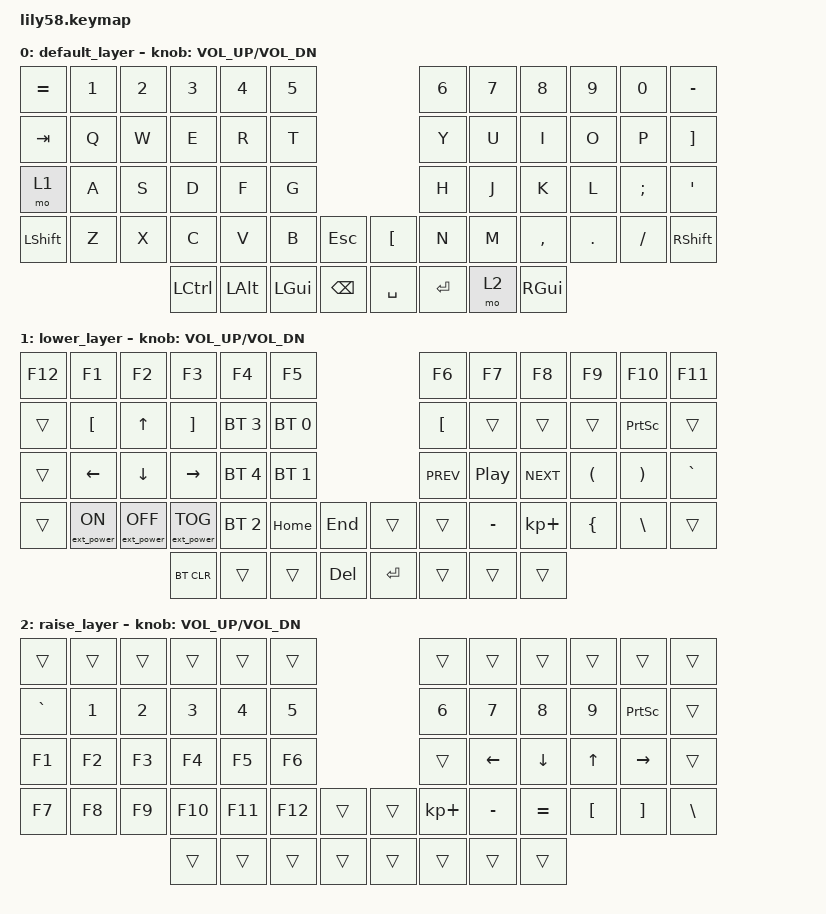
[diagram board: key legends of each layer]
/*
 * Copyright (c) 2020 The ZMK Contributors
 *
 * SPDX-License-Identifier: MIT
 */

#include <behaviors.dtsi>
#include <dt-bindings/zmk/keys.h>
#include <dt-bindings/zmk/bt.h>
#include <dt-bindings/zmk/ext_power.h>

/ {
	keymap {
		compatible = "zmk,keymap";

		default_layer {
// ------------------------------------------------------------------------------------------------------------
// |  =    |  1  |  2  |  3   |  4   |  5   |                   |  6   |  7    |  8    |  9   |   0   |   -   |
// |  TAB  |  Q  |  W  |  E   |  R   |  T   |                   |  Y   |  U    |  I    |  O   |   P   |   }   |
// |  LOWR |  A  |  S  |  D   |  F   |  G   |                   |  H   |  J    |  K    |  L   |   ;   |   '   |
// | SHIFT |  Z  |  X  |  C   |  V   |  B   |   ESC  |  |  "{"  |  N   |  M    |  ,    |  .   |   /   | SHIFT |
//                     | ALT  | GUI  | LCTRL|  BSPC  |  | SPACE | RET  | RAISE | GUI   |
			bindings = <
&kp EQUAL   &kp N1 &kp N2 &kp N3   &kp N4   &kp N5                     &kp N6 &kp N7   &kp N8    &kp N9  &kp N0   &kp MINUS
&kp TAB   &kp Q  &kp W  &kp E    &kp R    &kp T                      &kp Y  &kp U    &kp I     &kp O   &kp P     &kp RBKT
&mo 1 &kp A  &kp S  &kp D    &kp F    &kp G                      &kp H  &kp J    &kp K     &kp L   &kp SEMI &kp SQT
&kp LSHFT &kp Z  &kp X  &kp C    &kp V    &kp B  &kp ESC   &kp LBKT &kp N  &kp M    &kp COMMA &kp DOT &kp FSLH &kp RSHFT
                        &kp LCTRL &kp LALT &kp LGUI  &kp BSPC   &kp SPACE    &kp RET &mo 2 &kp RGUI
			>;

			sensor-bindings = <&inc_dec_kp C_VOL_UP C_VOL_DN>;
		};

		lower_layer {
// ------------------------------------------------------------------------------------------------------------
// |  f12  |  f1 | f2  |  f3  |  f4  |  f5  |                   |  f6  |   f7  |   f8  |  f9  |  f10  |  f11  |
// |       |  {  |  UP |  }   | bt3  |  bt0 |                   |  [   |       |       |      | PSCRN |       |
// |       |  <  |  v  |  >   | bt4  |  bt1 |                   | PREV |  PP   | NEXT  |  (   |   )   |   ~   |
// |       |     |     |      |      |  bt2 |   HOME |  | END   |      |  _    |  +    |  {   |   \   |       |
//                     | btclr|      |      |    DEL |  | ENTER |      |       |       |
			bindings = <
&kp F12     &kp F1     &kp F2     &kp F3     &kp F4     &kp F5     &kp F6     &kp F7     &kp F8     &kp F9     &kp F10     &kp F11
&trans    &kp LBKT     &kp UP      &kp RBKT   &bt BT_SEL 3   &bt BT_SEL 0                       &kp LBKT &trans &trans &trans &kp PSCRN &trans
&trans    &kp LEFT   &kp DOWN    &kp RIGHT   &bt BT_SEL 4   &bt BT_SEL 1           &kp C_PREV &kp C_PLAY_PAUSE  &kp C_NEXT &kp LPAR  &kp RPAR  &kp GRAVE
&trans    &ext_power EP_ON &ext_power EP_OFF &ext_power EP_TOG  &bt BT_SEL 2       &kp HOME    &kp END   &trans    &trans    &kp MINUS &kp KP_PLUS     &kp LBRC  &kp BSLH  &trans
        &bt BT_CLR     &trans   &trans        &kp DEL   &kp RET           &trans    &trans    &trans
			>;

			sensor-bindings = <&inc_dec_kp C_VOL_UP C_VOL_DN>;
		};

		raise_layer {
// ------------------------------------------------------------------------------------------------------------
// |       |     |     |      |      |      |                   |      |       |       |      |       |       |
// |   `   |  1  |  2  |  3   |  4   |  5   |                   |  6   |   7   |   8   |  9   | PSCRN |       |
// |   F1  |  F2 |  F3 |  F4  |  F5  |  F6  |                   |      |   <-  |   ^   |  v   |  ->   |       |
// |   F7  |  F8 |  F9 |  F10 |  F11 |  F12 |        |  |       |  +   |   -   |   =   |  [   |   ]   |   \   |
//                     |      |      |      |        |  |       |      |       |       |
			bindings = <
&trans    &trans &trans &trans  &trans  &trans                       &trans      &trans    &trans    &trans   &trans    &trans
&kp GRAVE &kp N1 &kp N2 &kp N3  &kp N4  &kp N5                       &kp N6      &kp N7    &kp N8    &kp N9   &kp PSCRN    &trans
&kp F1    &kp F2 &kp F3 &kp F4  &kp F5  &kp F6                       &trans      &kp LEFT  &kp DOWN  &kp UP   &kp RIGHT &trans
&kp F7    &kp F8 &kp F9 &kp F10 &kp F11 &kp F12   &trans   &trans    &kp KP_PLUS &kp MINUS &kp EQUAL &kp LBKT &kp RBKT  &kp BSLH
                        &trans  &trans  &trans    &trans   &trans    &trans      &trans    &trans
			>;

			sensor-bindings = <&inc_dec_kp C_VOL_UP C_VOL_DN>;
		};
	};
};
